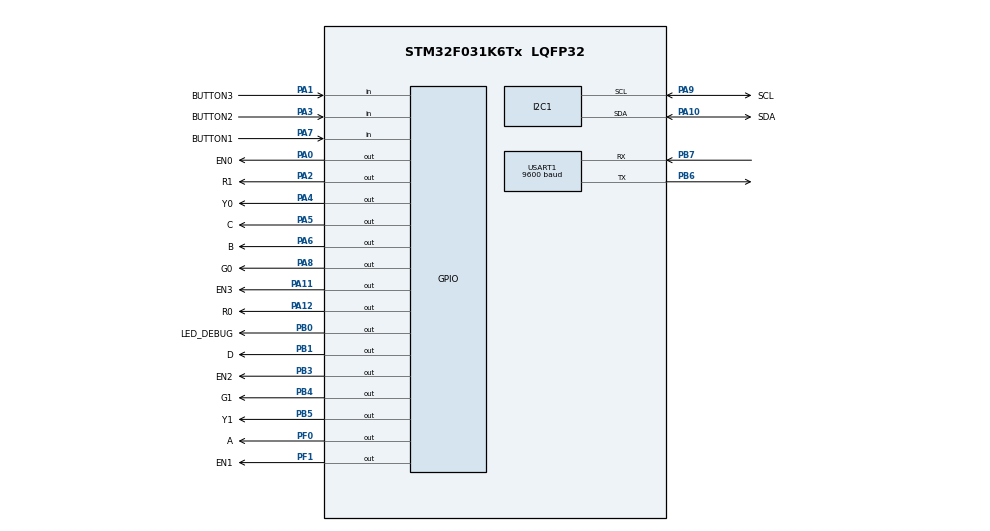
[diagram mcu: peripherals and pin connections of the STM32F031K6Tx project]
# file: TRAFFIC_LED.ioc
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Mcu.Family=STM32F0
Mcu.Name=STM32F031K6Tx
Mcu.Package=LQFP32
NVIC.TIM2_IRQn=true\:0\:0\:false\:false\:true\:true\:true\:true
NVIC.USART1_IRQn=true\:1\:0\:true\:false\:true\:true\:true\:true
PA0.GPIO_Label=EN0
PA0.Signal=GPIO_Output
PA1.GPIO_Label=BUTTON3
PA1.GPIO_PuPd=GPIO_PULLUP
PA1.Signal=GPIO_Input
PA10.GPIO_Label=SDA
PA10.Mode=I2C
PA10.Signal=I2C1_SDA
PA11.GPIO_Label=EN3
PA11.Signal=GPIO_Output
PA12.GPIO_Label=R0
PA12.Signal=GPIO_Output
PA13.GPIO_Label=SWDIO
PA13.Mode=Serial_Wire
PA13.Signal=SYS_SWDIO
PA14.GPIO_Label=SWCLK
PA14.Mode=Serial_Wire
PA14.Signal=SYS_SWCLK
PA2.GPIO_Label=R1
PA2.Signal=GPIO_Output
PA3.GPIO_Label=BUTTON2
PA3.GPIO_PuPd=GPIO_PULLUP
PA3.Signal=GPIO_Input
PA4.GPIO_Label=Y0
PA4.Signal=GPIO_Output
PA5.GPIO_Label=C
PA5.Signal=GPIO_Output
PA6.GPIO_Label=B
PA6.Signal=GPIO_Output
PA7.GPIO_Label=BUTTON1
PA7.GPIO_PuPd=GPIO_PULLUP
PA7.Signal=GPIO_Input
PA8.GPIO_Label=G0
PA8.Signal=GPIO_Output
PA9.GPIO_Label=SCL
PA9.Mode=I2C
PA9.Signal=I2C1_SCL
PB0.GPIO_Label=LED_DEBUG
PB0.Signal=GPIO_Output
PB1.GPIO_Label=D
PB1.Signal=GPIO_Output
PB3.GPIO_Label=EN2
PB3.Signal=GPIO_Output
PB4.GPIO_Label=G1
PB4.Signal=GPIO_Output
PB5.GPIO_Label=Y1
PB5.Signal=GPIO_Output
PB6.Mode=Asynchronous
PB6.Signal=USART1_TX
PB7.Mode=Asynchronous
PB7.Signal=USART1_RX
PF0-OSC_IN.GPIO_Label=A
PF0-OSC_IN.Signal=GPIO_Output
PF1-OSC_OUT.GPIO_Label=EN1
PF1-OSC_OUT.Signal=GPIO_Output
ProjectManager.HeapSize=0x200
ProjectManager.StackSize=0x400
ProjectManager.TargetToolchain=STM32CubeIDE
TIM2.Period=9
TIM2.Prescaler=7999
USART1.BaudRate=9600
USART1.VirtualMode-Asynchronous=VM_ASYNC
VP_TIM2_VS_ClockSourceINT.Mode=Internal
board=NUCLEO-F031K6

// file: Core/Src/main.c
/* USER CODE BEGIN Header */
/**
  ******************************************************************************
  * @file           : main.c
  * @brief          : Main program body
  ******************************************************************************
  * @attention
  *
  * <h2><center>&copy; Copyright (c) 2024 STMicroelectronics.
  * All rights reserved.</center></h2>
  *
  * This software component is licensed by ST under BSD 3-Clause license,
  * the "License"; You may not use this file except in compliance with the
  * License. You may obtain a copy of the License at:
  *                        opensource.org/licenses/BSD-3-Clause
  *
  ******************************************************************************
  */
/* USER CODE END Header */
#include "main.h"

/* USER CODE BEGIN Includes */
#include "global.h"
/* USER CODE END Includes */

I2C_HandleTypeDef hi2c1;

TIM_HandleTypeDef htim2;

UART_HandleTypeDef huart1;

/* USER CODE BEGIN PV */
uint8_t data;
uint8_t flag = 0;
/* USER CODE END PV */

void SystemClock_Config(void);
static void MX_GPIO_Init(void);
static void MX_TIM2_Init(void);
static void MX_I2C1_Init(void);
static void MX_USART1_UART_Init(void);
/* USER CODE BEGIN PFP */
void HAL_UART_RxCpltCallback(UART_HandleTypeDef *);
void HAL_TIM_PeriodElapsedCallback(TIM_HandleTypeDef *);
void led_debug();
/* USER CODE END PFP */

int main(void)
{

  /* MCU Configuration--------------------------------------------------------*/

  /* Reset of all peripherals, Initializes the Flash interface and the Systick. */
  HAL_Init();

  /* Configure the system clock */
  SystemClock_Config();

  /* Initialize all configured peripherals */
  MX_GPIO_Init();
  MX_TIM2_Init();
  MX_I2C1_Init();
  MX_USART1_UART_Init();
  /* USER CODE BEGIN 2 */
  HAL_TIM_Base_Start_IT (&htim2);

  HAL_UART_Receive_IT(&huart1, &data, 1);
  lcd_init();

  /* USER CODE END 2 */

  /* Infinite loop */
  /* USER CODE BEGIN WHILE */
  SCH_Add_Task(fsm_auto_run, 10, 10);
  SCH_Add_Task(getKeyinput, 10, 20);
  SCH_Add_Task(Scan7SEG, 10, 20);
  SCH_Add_Task(count_1_second, 10, 1000);
  while (1)
  {
<<<<<<< HEAD
	  // main
=======
	  SCH_Dispatch_Task();
	  if(flag == 1){
		  if(data == '1'){
			  buttonFlag[0] = 1;
			  HAL_GPIO_TogglePin(LED_DEBUG_GPIO_Port, LED_DEBUG_Pin);
		  }
		  if(data == '2'){
			  buttonFlag[1] = 1;
			  HAL_GPIO_TogglePin(LED_DEBUG_GPIO_Port, LED_DEBUG_Pin);
		  }
		  if(data == '3'){
			  buttonFlag[2] = 1;
			  HAL_GPIO_TogglePin(LED_DEBUG_GPIO_Port, LED_DEBUG_Pin);
		  }
		  flag = 0;
	  }
>>>>>>> develop
    /* USER CODE END WHILE */

  }
}

void SystemClock_Config(void)
{
  RCC_OscInitTypeDef RCC_OscInitStruct = {0};
  RCC_ClkInitTypeDef RCC_ClkInitStruct = {0};
  RCC_PeriphCLKInitTypeDef PeriphClkInit = {0};

  /** Initializes the RCC Oscillators according to the specified parameters
  * in the RCC_OscInitTypeDef structure.
  */
  RCC_OscInitStruct.OscillatorType = RCC_OSCILLATORTYPE_HSI;
  RCC_OscInitStruct.HSIState = RCC_HSI_ON;
  RCC_OscInitStruct.HSICalibrationValue = RCC_HSICALIBRATION_DEFAULT;
  RCC_OscInitStruct.PLL.PLLState = RCC_PLL_NONE;
  if (HAL_RCC_OscConfig(&RCC_OscInitStruct) != HAL_OK)
  {
    Error_Handler();
  }

  /** Initializes the CPU, AHB and APB buses clocks
  */
  RCC_ClkInitStruct.ClockType = RCC_CLOCKTYPE_HCLK|RCC_CLOCKTYPE_SYSCLK
                              |RCC_CLOCKTYPE_PCLK1;
  RCC_ClkInitStruct.SYSCLKSource = RCC_SYSCLKSOURCE_HSI;
  RCC_ClkInitStruct.AHBCLKDivider = RCC_SYSCLK_DIV1;
  RCC_ClkInitStruct.APB1CLKDivider = RCC_HCLK_DIV1;

  if (HAL_RCC_ClockConfig(&RCC_ClkInitStruct, FLASH_LATENCY_0) != HAL_OK)
  {
    Error_Handler();
  }
  PeriphClkInit.PeriphClockSelection = RCC_PERIPHCLK_USART1|RCC_PERIPHCLK_I2C1;
  PeriphClkInit.Usart1ClockSelection = RCC_USART1CLKSOURCE_PCLK1;
  PeriphClkInit.I2c1ClockSelection = RCC_I2C1CLKSOURCE_HSI;
  if (HAL_RCCEx_PeriphCLKConfig(&PeriphClkInit) != HAL_OK)
  {
    Error_Handler();
  }
}

static void MX_I2C1_Init(void)
{

  hi2c1.Instance = I2C1;
  hi2c1.Init.Timing = 0x2000090E;
  hi2c1.Init.OwnAddress1 = 0;
  hi2c1.Init.AddressingMode = I2C_ADDRESSINGMODE_7BIT;
  hi2c1.Init.DualAddressMode = I2C_DUALADDRESS_DISABLE;
  hi2c1.Init.OwnAddress2 = 0;
  hi2c1.Init.OwnAddress2Masks = I2C_OA2_NOMASK;
  hi2c1.Init.GeneralCallMode = I2C_GENERALCALL_DISABLE;
  hi2c1.Init.NoStretchMode = I2C_NOSTRETCH_DISABLE;
  if (HAL_I2C_Init(&hi2c1) != HAL_OK)
  {
    Error_Handler();
  }

  /** Configure Analogue filter
  */
  if (HAL_I2CEx_ConfigAnalogFilter(&hi2c1, I2C_ANALOGFILTER_ENABLE) != HAL_OK)
  {
    Error_Handler();
  }

  /** Configure Digital filter
  */
  if (HAL_I2CEx_ConfigDigitalFilter(&hi2c1, 0) != HAL_OK)
  {
    Error_Handler();
  }

}

static void MX_TIM2_Init(void)
{

  TIM_ClockConfigTypeDef sClockSourceConfig = {0};
  TIM_MasterConfigTypeDef sMasterConfig = {0};

  htim2.Instance = TIM2;
  htim2.Init.Prescaler = 7999;
  htim2.Init.CounterMode = TIM_COUNTERMODE_UP;
  htim2.Init.Period = 9;
  htim2.Init.ClockDivision = TIM_CLOCKDIVISION_DIV1;
  htim2.Init.AutoReloadPreload = TIM_AUTORELOAD_PRELOAD_DISABLE;
  if (HAL_TIM_Base_Init(&htim2) != HAL_OK)
  {
    Error_Handler();
  }
  sClockSourceConfig.ClockSource = TIM_CLOCKSOURCE_INTERNAL;
  if (HAL_TIM_ConfigClockSource(&htim2, &sClockSourceConfig) != HAL_OK)
  {
    Error_Handler();
  }
  sMasterConfig.MasterOutputTrigger = TIM_TRGO_RESET;
  sMasterConfig.MasterSlaveMode = TIM_MASTERSLAVEMODE_DISABLE;
  if (HAL_TIMEx_MasterConfigSynchronization(&htim2, &sMasterConfig) != HAL_OK)
  {
    Error_Handler();
  }

}

static void MX_USART1_UART_Init(void)
{

  huart1.Instance = USART1;
  huart1.Init.BaudRate = 9600;
  huart1.Init.WordLength = UART_WORDLENGTH_8B;
  huart1.Init.StopBits = UART_STOPBITS_1;
  huart1.Init.Parity = UART_PARITY_NONE;
  huart1.Init.Mode = UART_MODE_TX_RX;
  huart1.Init.HwFlowCtl = UART_HWCONTROL_NONE;
  huart1.Init.OverSampling = UART_OVERSAMPLING_16;
  huart1.Init.OneBitSampling = UART_ONE_BIT_SAMPLE_DISABLE;
  huart1.AdvancedInit.AdvFeatureInit = UART_ADVFEATURE_NO_INIT;
  if (HAL_UART_Init(&huart1) != HAL_OK)
  {
    Error_Handler();
  }

}

static void MX_GPIO_Init(void)
{
  GPIO_InitTypeDef GPIO_InitStruct = {0};

  /* GPIO Ports Clock Enable */
  __HAL_RCC_GPIOF_CLK_ENABLE();
  __HAL_RCC_GPIOA_CLK_ENABLE();
  __HAL_RCC_GPIOB_CLK_ENABLE();

  /*Configure GPIO pin Output Level */
  HAL_GPIO_WritePin(GPIOF, A_Pin|EN1_Pin, GPIO_PIN_RESET);

  /*Configure GPIO pin Output Level */
  HAL_GPIO_WritePin(GPIOA, EN0_Pin|R1_Pin|Y0_Pin|C_Pin
                          |B_Pin|G0_Pin|EN3_Pin|R0_Pin, GPIO_PIN_RESET);

  /*Configure GPIO pin Output Level */
  HAL_GPIO_WritePin(GPIOB, LED_DEBUG_Pin|D_Pin|EN2_Pin|G1_Pin
                          |Y1_Pin, GPIO_PIN_RESET);

  /*Configure GPIO pins : A_Pin EN1_Pin */
  GPIO_InitStruct.Pin = A_Pin|EN1_Pin;
  GPIO_InitStruct.Mode = GPIO_MODE_OUTPUT_PP;
  GPIO_InitStruct.Pull = GPIO_NOPULL;
  GPIO_InitStruct.Speed = GPIO_SPEED_FREQ_LOW;
  HAL_GPIO_Init(GPIOF, &GPIO_InitStruct);

  /*Configure GPIO pins : EN0_Pin R1_Pin Y0_Pin C_Pin
                           B_Pin G0_Pin EN3_Pin R0_Pin */
  GPIO_InitStruct.Pin = EN0_Pin|R1_Pin|Y0_Pin|C_Pin
                          |B_Pin|G0_Pin|EN3_Pin|R0_Pin;
  GPIO_InitStruct.Mode = GPIO_MODE_OUTPUT_PP;
  GPIO_InitStruct.Pull = GPIO_NOPULL;
  GPIO_InitStruct.Speed = GPIO_SPEED_FREQ_LOW;
  HAL_GPIO_Init(GPIOA, &GPIO_InitStruct);

  /*Configure GPIO pins : BUTTON3_Pin BUTTON2_Pin BUTTON1_Pin */
  GPIO_InitStruct.Pin = BUTTON3_Pin|BUTTON2_Pin|BUTTON1_Pin;
  GPIO_InitStruct.Mode = GPIO_MODE_INPUT;
  GPIO_InitStruct.Pull = GPIO_PULLUP;
  HAL_GPIO_Init(GPIOA, &GPIO_InitStruct);

  /*Configure GPIO pins : LED_DEBUG_Pin D_Pin EN2_Pin G1_Pin
                           Y1_Pin */
  GPIO_InitStruct.Pin = LED_DEBUG_Pin|D_Pin|EN2_Pin|G1_Pin
                          |Y1_Pin;
  GPIO_InitStruct.Mode = GPIO_MODE_OUTPUT_PP;
  GPIO_InitStruct.Pull = GPIO_NOPULL;
  GPIO_InitStruct.Speed = GPIO_SPEED_FREQ_LOW;
  HAL_GPIO_Init(GPIOB, &GPIO_InitStruct);

}

/* USER CODE BEGIN 4 */
void HAL_UART_RxCpltCallback(UART_HandleTypeDef *huart){
	HAL_UART_Receive_IT(&huart1, &data, 1);
	flag = 1;
}
void HAL_TIM_PeriodElapsedCallback(TIM_HandleTypeDef * htim2){
	SCH_Update();
}
void led_debug(){
	HAL_GPIO_TogglePin(LED_DEBUG_GPIO_Port, LED_DEBUG_Pin);
}

/* USER CODE END 4 */

void Error_Handler(void)
{
  __disable_irq();
  while (1)
  {
  }
}
